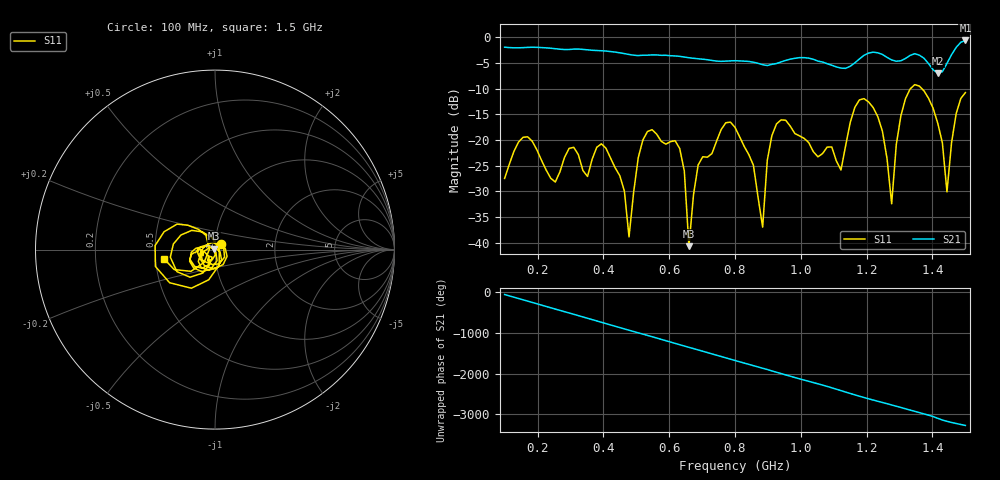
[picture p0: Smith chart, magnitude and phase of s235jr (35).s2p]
! NanoVNA-App
! Date: 2025-09-25 15:04:26
! Start: 100MHz Stop: 1,5GHz Points: 101
! S-Parameter data: F S11 S21 S12 S22
# Hz S RI R 50
!  Frequency  S11_Real  S11_Imag  S21_Real  S21_Imag  S12_Real  S12_Imag  S22_Real  S22_Imag
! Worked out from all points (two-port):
!   101 points, 100 MHz to 1.5 GHz, reference 50 ohm
!   highest |S21| = -0.65 dB at 1.5 GHz (marker M1); lowest = -7.0 dB at 1.416 GHz (marker M2)
!   |S21| within 3 dB of the highest: start of sweep to 614.7 MHz; 1.19 GHz to 1.255 GHz (65.08 MHz wide, 5.32 % of centre) (the widest 2 of 4)
!   lowest |S11| = -40.6 dB at 660 MHz (marker M3), VSWR 1.02, Z = 49.3 + j0.599 ohm
!   |S11| at or under -10 dB: start of sweep to 1.333 GHz; 1.367 GHz to end of sweep
!   S12 and S22 are empty: the file has one direction only
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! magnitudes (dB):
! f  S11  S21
! 100 MHz  -27.5  -2.0
! 170 MHz  -19.4  -2.0
! 338 MHz  -26.0  -2.4
! 408 MHz  -21.6  -2.7
! 478 MHz  -38.8  -3.4
! 520 MHz  -20.0  -3.5
! 576 MHz  -20.3  -3.5
! 632 MHz  -21.7  -3.7
! 660 MHz  -40.6  -4.0
! 688 MHz  -24.9  -4.2
! 800 MHz  -17.5  -4.6
! 884 MHz  -36.9  -5.4
! 926 MHz  -16.9  -5.1
! 1.038 GHz  -22.3  -4.3
! 1.122 GHz  -25.8  -6.0
! 1.192 GHz  -12.0  -3.5
! 1.248 GHz  -18.3  -3.4
! 1.276 GHz  -32.4  -4.4
! 1.332 GHz  -10.1  -3.6
! 1.416 GHz  -16.7  -7.0
! 1.444 GHz  -30.1  -5.1
! 1.5 GHz  -10.8  -0.7
